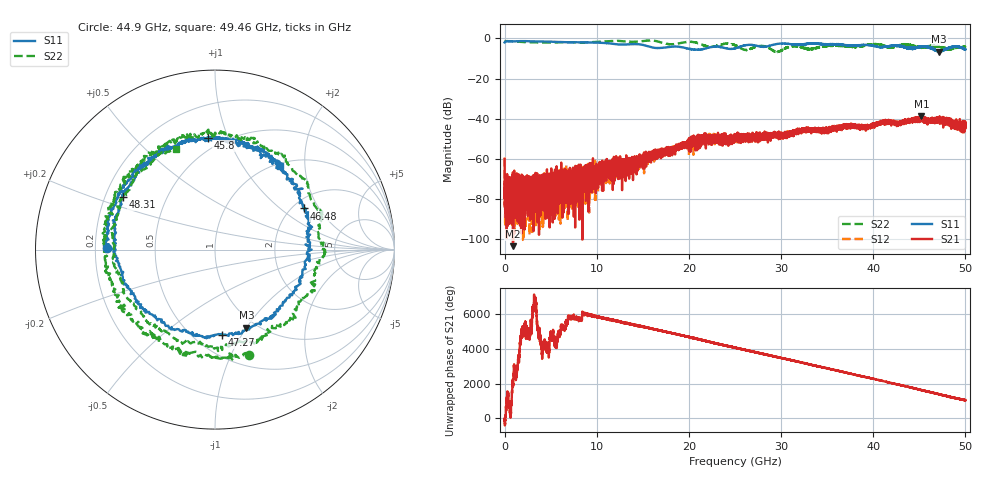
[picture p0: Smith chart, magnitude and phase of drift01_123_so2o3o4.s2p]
!Created with skrf (http://scikit-rf.org).
# Hz S RI R 50.0
!freq ReS11 ImS11 ReS21 ImS21 ReS12 ImS12 ReS22 ImS22
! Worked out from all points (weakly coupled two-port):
!   10001 points, 300 kHz to 50 GHz, reference 50 ohm
!   highest |S21| = -38.75 dB at 45.23 GHz (marker M1); lowest = -103.4 dB at 915.3 MHz (marker M2)
!   lowest |S11| = -6.6 dB at 47.15 GHz (marker M3), VSWR 2.76, Z = 44.8 - j49.9 ohm
!   |S11| at or under -10 dB: nowhere
!   |S22| runs from -6.8 to -1.0 dB; largest |S21 - S12| = 0.0044
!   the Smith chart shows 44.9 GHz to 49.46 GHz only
!   S11 on the Smith chart (normalised r, x): 44.9 GHz: 0.25, +0.01; 45.8 GHz: 0.42, +0.85; 46.48 GHz: 2.30, +1.51; 47.27 GHz: 0.67, -0.83; 48.31 GHz: 0.27, +0.25; 49.46 GHz: 1.04, +1.50
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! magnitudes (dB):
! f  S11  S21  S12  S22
! 300 kHz  -2.1  -60.0  -59.3  -1.3
! 255.3 MHz  -1.4  -84.2  -75.1  -1.4
! 915.3 MHz  -1.5  -103.4  -75.7  -1.5
! 6.13 GHz  -1.9  -80.3  -75.0  -1.9
! 8.335 GHz  -1.9  -78.1  -67.1  -2.1
! 16.67 GHz  -4.8  -58.4  -56.5  -1.6
! 21.56 GHz  -5.3  -49.8  -49.6  -3.4
! 25 GHz  -5.0  -50.0  -49.5  -3.4
! 28.09 GHz  -4.2  -48.3  -48.7  -3.8
! 29.53 GHz  -2.8  -47.6  -48.8  -6.7
! 31.29 GHz  -3.0  -47.7  -46.8  -3.9
! 33.34 GHz  -2.6  -45.0  -44.9  -5.2
! 41.67 GHz  -3.9  -40.5  -41.7  -4.5
! 44.9 GHz  -4.4  -40.5  -39.7  -4.2
! 45.23 GHz  -4.2  -38.7  -40.8  -4.6
! 45.8 GHz  -4.1  -40.3  -40.9  -4.0
! 46.48 GHz  -5.2  -40.5  -40.7  -3.7
! 47.15 GHz  -6.6  -39.6  -40.9  -4.0
! 47.27 GHz  -6.4  -40.7  -39.9  -4.2
! 48.31 GHz  -4.6  -42.5  -42.1  -5.3
! 49.46 GHz  -4.6  -43.2  -43.6  -4.4
! 50 GHz  -5.6  -44.6  -43.0  -4.3
